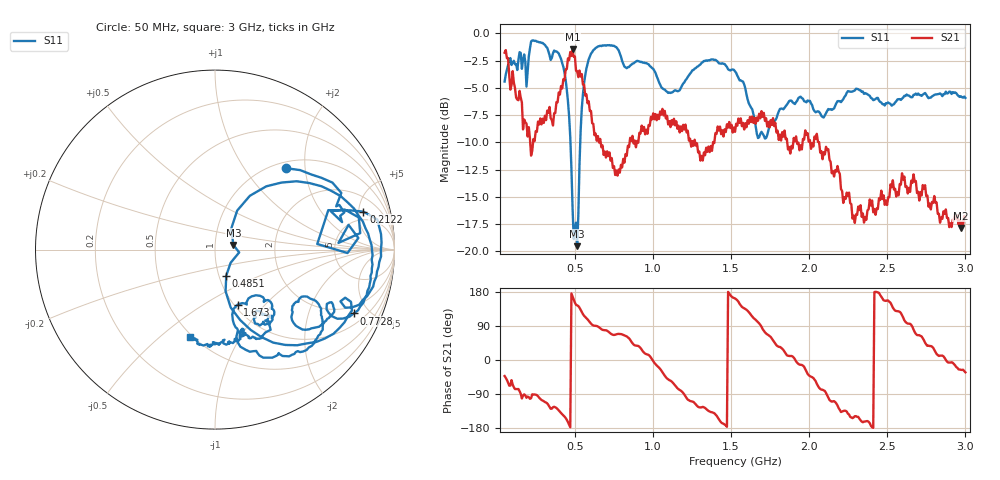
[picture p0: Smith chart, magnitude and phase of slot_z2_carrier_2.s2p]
! nanovna_capture.py 2026-10-26T21:41:35+0900
! NanoVNA-F_V2 fw 0.6.0 SN 4A3639384505514B
! cal: load open short thru cal'ed  over 50000000-3000000000 Hz, 201 points
! points 401, avg 4
! slot line with the carrier plate on it, no wallet (second capture, nothing moved)
# HZ S RI R 50
! S12 and S22 are not measured (written as 0)
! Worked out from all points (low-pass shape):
!   401 points, 50 MHz to 3 GHz, reference 50 ohm
!   highest |S21| = -1.47 dB at 485.1 MHz (marker M1); lowest = -17.8 dB at 2.97 GHz (marker M2)
!   |S21| within 3 dB of the highest: start of sweep to 83.14 MHz; 423.8 MHz to 549.8 MHz (126 MHz wide, 25.9 % of centre) (the widest 2 of 3)
!   lowest |S11| = -19.5 dB at 514.6 MHz (marker M3), VSWR 1.24, Z = 61.3 + j3.15 ohm
!   |S11| at or under -10 dB: 471.6 MHz to 534.2 MHz (62.62 MHz wide, 12.5 % of centre)
!   S12 and S22 are empty: the file has one direction only
!   S11 on the Smith chart (normalised r, x): 50 MHz: 1.12, +1.59; 212.2 MHz: 3.64, +5.65; 485.1 MHz: 1.08, -0.32; 772.8 MHz: 1.55, -4.00; 1.673 GHz: 1.04, -0.71; 3 GHz: 0.49, -0.64
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5e7  0.3953 0.4537  0.6035 -0.5496  0 0  0 0
1.75375e8  0.7987 0.0646  -0.00431 -0.403  0 0  0 0
2.1225e8  0.8264 0.2115  -0.0714 -0.3214  0 0  0 0
2.86e8  0.8878 -0.177  -0.1016 -0.369  0 0  0 0
4.1875e8  0.5104 -0.5228  -0.4476 -0.3353  0 0  0 0
4.85125e8  0.0627 -0.1452  -0.8255 0.1788  0 0  0 0
5.14625e8  0.1026 0.0254  -0.5442 0.3924  0 0  0 0
5.44125e8  0.2854 0.3525  -0.3862 0.5247  0 0  0 0
6.2525e8  0.8376 0.1209  -0.00272 0.3415  0 0  0 0
7.7275e8  0.7734 -0.3558  0.0813 0.2074  0 0  0 0
9.12875e8  0.6456 -0.3706  0.2873 0.2002  0 0  0 0
1.03825e9  0.4376 -0.4081  0.3808 -0.1382  0 0  0 0
1.207875e9  0.5435 -0.2779  -0.0391 -0.3799  0 0  0 0
1.525e9  0.2941 -0.6019  -0.3373 0.107  0 0  0 0
1.6725e9  0.1268 -0.306  -0.0658 0.3923  0 0  0 0
1.783125e9  0.2826 -0.2834  0.2844 0.2652  0 0  0 0
2.019125e9  0.2235 -0.4119  0.2206 -0.2241  0 0  0 0
2.196125e9  0.2834 -0.398  -0.1508 -0.1693  0 0  0 0
2.51325e9  0.1453 -0.4553  -0.159 0.0788  0 0  0 0
2.668125e9  0.1114 -0.5112  0.0383 0.2225  0 0  0 0
2.9705e9  -0.1124 -0.503  0.1155 -0.0556  0 0  0 0
3e9  -0.1383 -0.487  0.1207 -0.0768  0 0  0 0
